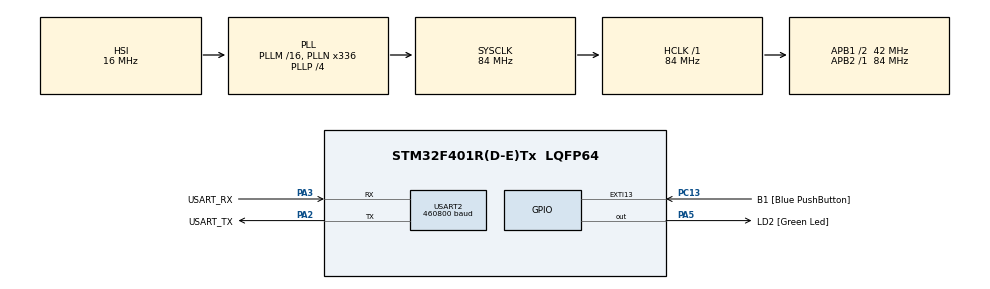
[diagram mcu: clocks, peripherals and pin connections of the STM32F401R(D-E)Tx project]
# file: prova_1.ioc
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Dma.Request0=USART2_RX
Dma.USART2_RX.0.Direction=DMA_PERIPH_TO_MEMORY
Dma.USART2_RX.0.FIFOMode=DMA_FIFOMODE_DISABLE
Dma.USART2_RX.0.Instance=DMA1_Stream5
Dma.USART2_RX.0.MemDataAlignment=DMA_MDATAALIGN_BYTE
Dma.USART2_RX.0.MemInc=DMA_MINC_ENABLE
Dma.USART2_RX.0.Mode=DMA_NORMAL
Dma.USART2_RX.0.PeriphDataAlignment=DMA_PDATAALIGN_BYTE
Dma.USART2_RX.0.PeriphInc=DMA_PINC_DISABLE
Dma.USART2_RX.0.Priority=DMA_PRIORITY_LOW
Mcu.Family=STM32F4
Mcu.Name=STM32F401R(D-E)Tx
Mcu.Package=LQFP64
NVIC.DMA1_Stream5_IRQn=true\:0\:0\:false\:false\:true\:false\:true\:true
NVIC.PriorityGroup=NVIC_PRIORITYGROUP_4
NVIC.USART2_IRQn=true\:0\:0\:false\:false\:true\:true\:true\:true
PA13.GPIO_Label=TMS
PA13.Mode=Trace_Asynchronous_SW
PA13.Signal=SYS_JTMS-SWDIO
PA14.GPIO_Label=TCK
PA14.Mode=Trace_Asynchronous_SW
PA14.Signal=SYS_JTCK-SWCLK
PA2.GPIO_Label=USART_TX
PA2.GPIO_Mode=GPIO_MODE_AF_PP
PA2.GPIO_PuPd=GPIO_NOPULL
PA2.GPIO_Speed=GPIO_SPEED_FREQ_LOW
PA2.Mode=Asynchronous
PA2.Signal=USART2_TX
PA3.GPIO_Label=USART_RX
PA3.GPIO_Mode=GPIO_MODE_AF_PP
PA3.GPIO_PuPd=GPIO_NOPULL
PA3.GPIO_Speed=GPIO_SPEED_FREQ_LOW
PA3.Mode=Asynchronous
PA3.Signal=USART2_RX
PA5.GPIO_Label=LD2 [Green Led]
PA5.GPIO_Mode=GPIO_MODE_OUTPUT_PP
PA5.GPIO_PuPd=GPIO_NOPULL
PA5.GPIO_Speed=GPIO_SPEED_FREQ_LOW
PA5.Signal=GPIO_Output
PB3.GPIO_Label=SWO
PB3.Mode=Trace_Asynchronous_SW
PB3.Signal=SYS_JTDO-SWO
PC13-ANTI_TAMP.GPIO_Label=B1 [Blue PushButton]
PC13-ANTI_TAMP.GPIO_ModeDefaultEXTI=GPIO_MODE_IT_FALLING
PC13-ANTI_TAMP.GPIO_PuPd=GPIO_NOPULL
PC13-ANTI_TAMP.Signal=GPXTI13
PC14-OSC32_IN.Mode=LSE-External-Oscillator
PC14-OSC32_IN.Signal=RCC_OSC32_IN
PC15-OSC32_OUT.Mode=LSE-External-Oscillator
PC15-OSC32_OUT.Signal=RCC_OSC32_OUT
PH0\ -\ OSC_IN.Mode=HSE-External-Clock-Source
PH0\ -\ OSC_IN.Signal=RCC_OSC_IN
PH1\ -\ OSC_OUT.Mode=HSE-External-Clock-Source
PH1\ -\ OSC_OUT.Signal=RCC_OSC_OUT
ProjectManager.HeapSize=0x200
ProjectManager.StackSize=0x400
ProjectManager.TargetToolchain=STM32CubeIDE
RCC.48MHZClocksFreq_Value=48000000
RCC.AHBFreq_Value=84000000
RCC.APB1CLKDivider=RCC_HCLK_DIV2
RCC.APB1Freq_Value=42000000
RCC.APB1TimFreq_Value=84000000
RCC.APB2Freq_Value=84000000
RCC.APB2TimFreq_Value=84000000
RCC.CortexFreq_Value=84000000
RCC.HCLKFreq_Value=84000000
RCC.HSE_VALUE=8000000
RCC.HSI_VALUE=16000000
RCC.PLLN=336
RCC.PLLP=RCC_PLLP_DIV4
RCC.PLLQ=7
RCC.SYSCLKFreq_VALUE=84000000
RCC.SYSCLKSource=RCC_SYSCLKSOURCE_PLLCLK
RCC.VCOOutputFreq_Value=336000000
USART2.BaudRate=460800
USART2.VirtualMode=VM_ASYNC
board=NUCLEO-F401RE

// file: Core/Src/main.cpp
/* USER CODE BEGIN Header */
/**
  ******************************************************************************
  * @file           : main.c
  * @brief          : Main program body
  ******************************************************************************
  * @attention
  *
  * Copyright (c) 2026 STMicroelectronics.
  * All rights reserved.
  *
  * This software is licensed under terms that can be found in the LICENSE file
  * in the root directory of this software component.
  * If no LICENSE file comes with this software, it is provided AS-IS.
  *
  ******************************************************************************
  */
/* USER CODE END Header */
#include "main.h"

/* USER CODE BEGIN Includes */
#include "edge-impulse-sdk/classifier/ei_run_classifier.h"
#include <stdio.h> // Necessario per usare snprintf e sscanf
#include <string.h>
/* USER CODE END Includes */

/* USER CODE BEGIN PTD */
typedef enum {
    STATE_WAIT_HEADER = 0, //stato iniziale
    STATE_RECEIVE_AUDIO, //stato in cui riceve i byte audio
    STATE_RUN_INFERENCE, //stato in cui viene eseguita run_classifier
    STATE_SEND_RESULT //stato finale
} uart_state_t;
/* USER CODE END PTD */

/* USER CODE BEGIN PD */
#define CLASSIFICATION_THRESHOLD  0.70f  //Soglia minima per accettare una classificazione
#define UNKNOWN_LABEL             "unknown" //Costante per la label della classe sconosciuta.

/* USER CODE END PD */

UART_HandleTypeDef huart2; //necessario per tutte le chiamate HAL UART
DMA_HandleTypeDef hdma_usart2_rx;

/* USER CODE BEGIN PV */
// Buffer audio: 16000 campioni int16 = 32000 byte
#define AUDIO_BUFFER_BYTES   (EI_CLASSIFIER_DSP_INPUT_FRAME_SIZE * 2)
#define HEADER_BUFFER_SIZE   64 //Lunghezza massima dell’header testuale

uint8_t rx_buffer[AUDIO_BUFFER_BYTES]; //Buffer che contiene l’audio ricevuto via UART
uint32_t rx_index = 0; //Indice di scrittura del buffer audio.

char header_buffer[HEADER_BUFFER_SIZE]; //Buffer per ricevere la riga di header ASCII.
uint32_t header_index = 0; //Indice di scrittura per l’header.

uint32_t expected_samples = 0; //inizializzazione campioni attesi payload
uint32_t expected_bytes = 0; //inizializzazione bytes attesi

uart_state_t uart_state = STATE_WAIT_HEADER; //mette la macchina a stati in stato d'attesa

// --- AGGIUNGI QUESTA RIGA QUI ---
volatile uint8_t dma_rx_complete = 0;
/* USER CODE END PV */

void SystemClock_Config(void);
static void MX_GPIO_Init(void);
static void MX_DMA_Init(void);
static void MX_USART2_UART_Init(void);
/* USER CODE BEGIN PFP */
void reset_uart_session(void); //Prototipo della funzione che resetta stato e buffer UART.
int parse_header(char *header, uint32_t *samples, uint32_t *bytes);
void send_text(const char *text); //per mandare le stringhe a matlab
/* USER CODE END PFP */
/* USER CODE BEGIN 0 */

// Funzione "ponte" richiesta da Edge Impulse per pescare i dati audio
/*Questo blocco prende i byte audio ricevuti via UART,
 *  li ricostruisce come campioni int16_t, e li restituisce in formato float a Edge Impulse.
 *  La documentazione Edge Impulse spiega che get_data deve riempire un buffer di float,
 *  e che puoi convertire da int16_t con helper o con una conversione equivalente manuale.
 */
int raw_feature_get_data(size_t offset, size_t length, float *out_ptr) //offset e length dicono quali campioni servono in quel momento; out_ptr è il buffer di output float
{
    if ((offset + length) > EI_CLASSIFIER_DSP_INPUT_FRAME_SIZE) //Controlla che la richiesta non esca oltre la dimensione del frame atteso
    {
        return -1;
    }

    if (((offset + length) * 2) > expected_bytes) //Secondo controllo di sicurezza sul buffer bytes. Utile, perché il buffer audio è in byte e ogni campione occupa 2 byte
    {
        return -1;
    }

    for (size_t i = 0; i < length; i++)
    {
        size_t sample_index = offset + i; //Calcola l’indice del campione corrente
        size_t byte_index = sample_index * 2; //Converte l’indice del campione nell’indice dei byte
        int16_t sample = (int16_t)( //Ricostruisce il campione signed 16-bit dai due byte
            ((uint16_t)rx_buffer[byte_index]) |
            ((uint16_t)rx_buffer[byte_index + 1] << 8)
        );

        out_ptr[i] = (float)sample; //Converte il campione in float e lo scrive nel buffer di outpu
    }

    return 0;
}
/* USER CODE END 0 */

int main(void)
{

  /* MCU Configuration--------------------------------------------------------*/

  /* Reset of all peripherals, Initializes the Flash interface and the Systick. */
  HAL_Init();

  /* Configure the system clock */
  SystemClock_Config();

  /* Initialize all configured peripherals */
  MX_GPIO_Init();
  MX_DMA_Init();
  MX_USART2_UART_Init();

  /* Infinite loop */
  /* USER CODE BEGIN WHILE */
  while (1)
  {
      uint8_t rx_byte; //Variabile temporanea per il byte ricevuto

      switch (uart_state) //Seleziona il comportamento in base allo stato corrente
      {
      case STATE_WAIT_HEADER: //stato iniziale
                    if (HAL_UART_Receive(&huart2, &rx_byte, 1, 10) == HAL_OK) //L'header lo riceviamo ancora in polling (è testo breve)
                    {
                        if (rx_byte == '\r')
                        {
                            break;
                        }

                        if (rx_byte == '\n')
                        {
                            header_buffer[header_index] = '\0';

                            if (parse_header(header_buffer, &expected_samples, &expected_bytes))
                            {
                                if ((expected_samples == EI_CLASSIFIER_DSP_INPUT_FRAME_SIZE) &&
                                    (expected_bytes == (expected_samples * 2)) &&
                                    (expected_bytes <= AUDIO_BUFFER_BYTES))
                                {
                                    rx_index = 0;
                                    header_index = 0;
                                    memset(header_buffer, 0, sizeof(header_buffer));

                                    // ----- MODIFICA DMA QUI -----
                                    dma_rx_complete = 0; // Azzera il flag prima di partire
                                    uart_state = STATE_RECEIVE_AUDIO;
                                    send_text("HEADER_OK\n");

                                    // LANCIA IL DMA! Da questo momento l'hardware lavora in background
                                    HAL_UART_Receive_DMA(&huart2, rx_buffer, expected_bytes);
                                    // ----------------------------
                                }
                                else
                                {
                                    char dbg[128];
                                    snprintf(dbg, sizeof(dbg),
                                             "ERR_HEADER_SIZE expS=%lu expB=%lu dsp=%lu\n",
                                             (unsigned long)expected_samples,
                                             (unsigned long)expected_bytes,
                                             (unsigned long)EI_CLASSIFIER_DSP_INPUT_FRAME_SIZE);
                                    send_text(dbg);
                                    reset_uart_session();
                                }
                            }
                            else
                            {
                                send_text("ERR_HEADER_PARSE\n");
                                reset_uart_session();
                            }
                        }
                        else
                        {
                            if (header_index < (HEADER_BUFFER_SIZE - 1))
                            {
                                header_buffer[header_index++] = (char)rx_byte;
                            }
                            else
                            {
                                send_text("ERR_HEADER_OVERFLOW\n");
                                reset_uart_session();
                            }
                        }
                    }
                    break;

      case STATE_RECEIVE_AUDIO: //stato di ricezione del payload audio

                    // ----- MODIFICA DMA QUI -----
                    // Nessun ciclo for, nessuna lettura bloccante.
                    // La CPU aspetta solo che il controller DMA metta questo flag a 1!
                    if (dma_rx_complete == 1)
                    {
                        send_text("RX_OK\n"); // Invio di conferma a MATLAB
                        uart_state = STATE_RUN_INFERENCE; // Passa all'inferenza
                    }
                    // ----------------------------
                    break;

          case STATE_RUN_INFERENCE: //Questo blocco passa i campioni audio al classificatore Edge Impulse, raccoglie i risultati e prepara il messaggio finale da mandare a MATLAB
          {
              signal_t features_signal; //Crea la struttura che Edge Impulse usa per accedere ai dati
              features_signal.total_length = EI_CLASSIFIER_DSP_INPUT_FRAME_SIZE; //Dice quanti campioni totali ha il segnale
              features_signal.get_data = &raw_feature_get_data; //Collega il callback che fornisce i dati al classificatore

              ei_impulse_result_t result = { 0 }; //Inizializza la struttura di risultato
              EI_IMPULSE_ERROR res = run_classifier(&features_signal, &result, false); //Lancia l’inferenza

              if (res == EI_IMPULSE_OK) //Controlla se l’inferenza è andata a buon fine.
              {
                  char tx_buffer[128]; //Buffer temporaneo per formattare le stringhe da inviare

                  send_text("RESULT_BEGIN\n"); //Marca l’inizio dei risultati

                  for (size_t ix = 0; ix < EI_CLASSIFIER_LABEL_COUNT; ix++) //Cicla su tutte le label del modello
                  {
                      snprintf(tx_buffer, sizeof(tx_buffer), "%s: %.3f\n", //Prepara una riga con label e probabilità
                               result.classification[ix].label,
                               result.classification[ix].value);
                      send_text(tx_buffer);
                  }

                  snprintf(tx_buffer, sizeof(tx_buffer),
                           "TIMING dsp=%d ms, classification=%d ms, anomaly=%d ms\n", //Invia i tempi di elaborazione
                           result.timing.dsp,
                           result.timing.classification,
                           result.timing.anomaly);
                  send_text(tx_buffer);

                  size_t best_ix = 0; //Inizia la ricerca della label migliore dal primo elemento
                  for (size_t ix = 1; ix < EI_CLASSIFIER_LABEL_COUNT; ix++) //Confronta tutte le altre classi
                  {
                      if (result.classification[ix].value > result.classification[best_ix].value) //Tiene la probabilità più alta
                      {
                          best_ix = ix;
                      }
                  }

                  if ((strcmp(result.classification[best_ix].label, UNKNOWN_LABEL) != 0) &&
                      (result.classification[best_ix].value >= CLASSIFICATION_THRESHOLD)) //Esclude la classe unknown e richiede una soglia minima.
                  {
                      snprintf(tx_buffer, sizeof(tx_buffer), "TOP: %s %.3f\n", //Invia il nome della miglior classe e il relativo score.
                               result.classification[best_ix].label,
                               result.classification[best_ix].value);
                  }
                  else //Gestisce il caso in cui la previsione non sia abbastanza affidabile.
                  {
                      snprintf(tx_buffer, sizeof(tx_buffer), "TOP: PAROLA_NON_RICONOSCIUTA %.3f\n",
                               result.classification[best_ix].value);
                  }
                  send_text(tx_buffer);
              }
              else //Se run_classifier() fallisce, invii un errore.
              {
                  char tx_buffer[64];
                  snprintf(tx_buffer, sizeof(tx_buffer), "ERR_INFER %d\n", res); //Invii il codice errore.
                  send_text(tx_buffer);
              }

              uart_state = STATE_SEND_RESULT; //passa allo stato finale
              break;
          }

          case STATE_SEND_RESULT: //stato finale
              send_text("END_RESULT\n");
              HAL_GPIO_TogglePin(LD2_GPIO_Port, LD2_Pin);
              reset_uart_session();
              break;

          default:
              reset_uart_session();
              break;
      }
  }
  /* USER CODE END WHILE */

}

void SystemClock_Config(void)
{
  RCC_OscInitTypeDef RCC_OscInitStruct = {0};
  RCC_ClkInitTypeDef RCC_ClkInitStruct = {0};

  /** Configure the main internal regulator output voltage
  */
  __HAL_RCC_PWR_CLK_ENABLE();
  __HAL_PWR_VOLTAGESCALING_CONFIG(PWR_REGULATOR_VOLTAGE_SCALE2);

  /** Initializes the RCC Oscillators according to the specified parameters
  * in the RCC_OscInitTypeDef structure.
  */
  RCC_OscInitStruct.OscillatorType = RCC_OSCILLATORTYPE_HSI;
  RCC_OscInitStruct.HSIState = RCC_HSI_ON;
  RCC_OscInitStruct.HSICalibrationValue = RCC_HSICALIBRATION_DEFAULT;
  RCC_OscInitStruct.PLL.PLLState = RCC_PLL_ON;
  RCC_OscInitStruct.PLL.PLLSource = RCC_PLLSOURCE_HSI;
  RCC_OscInitStruct.PLL.PLLM = 16;
  RCC_OscInitStruct.PLL.PLLN = 336;
  RCC_OscInitStruct.PLL.PLLP = RCC_PLLP_DIV4;
  RCC_OscInitStruct.PLL.PLLQ = 7;
  if (HAL_RCC_OscConfig(&RCC_OscInitStruct) != HAL_OK)
  {
    Error_Handler();
  }

  /** Initializes the CPU, AHB and APB buses clocks
  */
  RCC_ClkInitStruct.ClockType = RCC_CLOCKTYPE_HCLK|RCC_CLOCKTYPE_SYSCLK
                              |RCC_CLOCKTYPE_PCLK1|RCC_CLOCKTYPE_PCLK2;
  RCC_ClkInitStruct.SYSCLKSource = RCC_SYSCLKSOURCE_PLLCLK;
  RCC_ClkInitStruct.AHBCLKDivider = RCC_SYSCLK_DIV1;
  RCC_ClkInitStruct.APB1CLKDivider = RCC_HCLK_DIV2;
  RCC_ClkInitStruct.APB2CLKDivider = RCC_HCLK_DIV1;

  if (HAL_RCC_ClockConfig(&RCC_ClkInitStruct, FLASH_LATENCY_2) != HAL_OK)
  {
    Error_Handler();
  }
}

static void MX_USART2_UART_Init(void)
{

  huart2.Instance = USART2;
  huart2.Init.BaudRate = 460800;
  huart2.Init.WordLength = UART_WORDLENGTH_8B;
  huart2.Init.StopBits = UART_STOPBITS_1;
  huart2.Init.Parity = UART_PARITY_NONE;
  huart2.Init.Mode = UART_MODE_TX_RX;
  huart2.Init.HwFlowCtl = UART_HWCONTROL_NONE;
  huart2.Init.OverSampling = UART_OVERSAMPLING_16;
  if (HAL_UART_Init(&huart2) != HAL_OK)
  {
    Error_Handler();
  }

}

static void MX_DMA_Init(void)
{

  /* DMA controller clock enable */
  __HAL_RCC_DMA1_CLK_ENABLE();

  /* DMA interrupt init */
  /* DMA1_Stream5_IRQn interrupt configuration */
  HAL_NVIC_SetPriority(DMA1_Stream5_IRQn, 0, 0);
  HAL_NVIC_EnableIRQ(DMA1_Stream5_IRQn);

}

static void MX_GPIO_Init(void)
{
  GPIO_InitTypeDef GPIO_InitStruct = {0};

  /* GPIO Ports Clock Enable */
  __HAL_RCC_GPIOC_CLK_ENABLE();
  __HAL_RCC_GPIOH_CLK_ENABLE();
  __HAL_RCC_GPIOA_CLK_ENABLE();
  __HAL_RCC_GPIOB_CLK_ENABLE();

  /*Configure GPIO pin Output Level */
  HAL_GPIO_WritePin(LD2_GPIO_Port, LD2_Pin, GPIO_PIN_RESET);

  /*Configure GPIO pin : B1_Pin */
  GPIO_InitStruct.Pin = B1_Pin;
  GPIO_InitStruct.Mode = GPIO_MODE_IT_FALLING;
  GPIO_InitStruct.Pull = GPIO_NOPULL;
  HAL_GPIO_Init(B1_GPIO_Port, &GPIO_InitStruct);

  /*Configure GPIO pin : LD2_Pin */
  GPIO_InitStruct.Pin = LD2_Pin;
  GPIO_InitStruct.Mode = GPIO_MODE_OUTPUT_PP;
  GPIO_InitStruct.Pull = GPIO_NOPULL;
  GPIO_InitStruct.Speed = GPIO_SPEED_FREQ_LOW;
  HAL_GPIO_Init(LD2_GPIO_Port, &GPIO_InitStruct);

}

/* USER CODE BEGIN 4 */

// Questa funzione viene chiamata in automatico dall'HAL quando il DMA finisce
void HAL_UART_RxCpltCallback(UART_HandleTypeDef *huart)
{
    if (huart->Instance == USART2)
    {
        dma_rx_complete = 1; // Avvisa il ciclo principale che abbiamo i dati!
    }
}

void reset_uart_session(void) //funzione per resettare l uart e portare tuto allo stato iniziale
{
    dma_rx_complete = 0; // <--- NUOVA RIGA: Azzera il flag di completamento del DMA

    rx_index = 0; //azzera indice di scrittura del buffer audio
    header_index = 0; //Azzera l’indice del buffer header.
    expected_samples = 0;
    expected_bytes = 0;
    memset(header_buffer, 0, sizeof(header_buffer)); //Svuota il buffer dell’header
    memset(rx_buffer, 0, sizeof(rx_buffer)); //Svuota il buffer audio
    uart_state = STATE_WAIT_HEADER; //Rimette la macchina a stati nella fase iniziale
}
int parse_header(char *header, uint32_t *samples, uint32_t *bytes) //Questa funzione legge una stringa tipo START 16000 32000 e ne estrae: comando, numero campioni e numero di byte
{
    char command[16] = {0};
    unsigned long tmp_samples = 0;
    unsigned long tmp_bytes = 0;

    int parsed = sscanf(header, "%15s %lu %lu", command, &tmp_samples, &tmp_bytes);

    if (parsed == 3 && strcmp(command, "START") == 0)
    {
        *samples = (uint32_t)tmp_samples;
        *bytes   = (uint32_t)tmp_bytes;
        return 1;
    }

    return 0;
}

void send_text(const char *text)
{
    if (HAL_UART_Transmit(&huart2, (uint8_t *)text, strlen(text), 1000) != HAL_OK)
    {
        Error_Handler();
    }
}
/* USER CODE END 4 */

void Error_Handler(void)
{
  __disable_irq();
  while (1)
  {
  }
}
